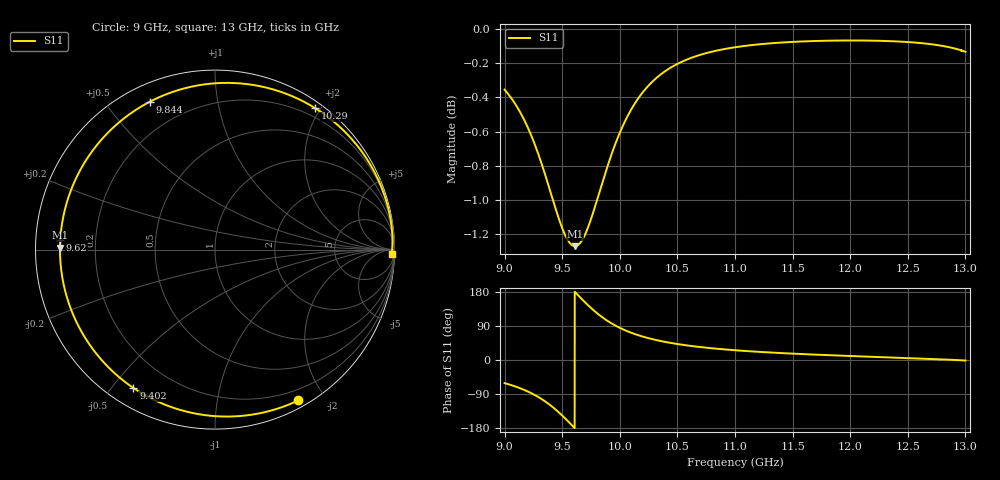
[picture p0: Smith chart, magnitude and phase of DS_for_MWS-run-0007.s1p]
! TOUCHSTONE file generated by CST DESIGN STUDIO
! Date and time: Wed Feb  5 13:45:14 2025
! Project name: C:\Work\MatlabApps\UnitCellOptimizationMatlab\CST\unitcell.cst
! Tree item: Tasks\Sweep1\SPara1\S-Parameters
! Header version: 2024
! Port assignment regex: !\s*Touchstone port\s*([0-9]+)\s*=\s*(CST MWS port|CST DES external port|CST DES block port)\s*(.+)\s* \(\"(.*)\"\)(\s*mode\s*([0-9]+))?.*
! Touchstone port assignment:
! Touchstone port 1 = CST DES external port 1 ("")
# GHz S MA R 50
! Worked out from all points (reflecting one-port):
!   4001 points, 9 GHz to 13 GHz, reference 50 ohm
!   lowest |S11| = -1.3 dB at 9.611 GHz (marker M1), VSWR 13.67, Z = 3.66 + j0.299 ohm
!   phase of S11 starts at -61 deg and turns -300 deg over the sweep
!   S11 on the Smith chart (normalised r, x): 9 GHz: 0.08, -1.69; 9.402 GHz: 0.07, -0.57; 9.62 GHz: 0.07, +0.03; 9.844 GHz: 0.07, +0.65; 10.29 GHz: 0.08, +1.93; 13 GHz: 39, -60
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9  0.9601 -61.0
9.052  0.9552 -65.7
9.124  0.9469 -73.3
9.247  0.928 -90.0
9.33  0.9113 -104.8
9.402  0.895 -120.5
9.451  0.884 -132.9
9.5  0.8743 -146.5
9.558  0.8662 -164.0
9.611  0.8637 179.3
9.62  0.8637 176.5
9.676  0.8675 158.9
9.739  0.8775 140.3
9.791  0.8885 126.3
9.844  0.9006 113.6
9.916  0.9165 98.9
10  0.9325 84.8
10.066  0.9428 75.9
10.135  0.9517 68.0
10.288  0.9657 54.6
10.388  0.9718 48.1
10.5  0.9769 42.1
10.72  0.9834 33.4
11  0.988 25.7
11.5  0.9916 16.8
12  0.9925 10.6
12.5  0.9915 5.2
13  0.985 -1.3
